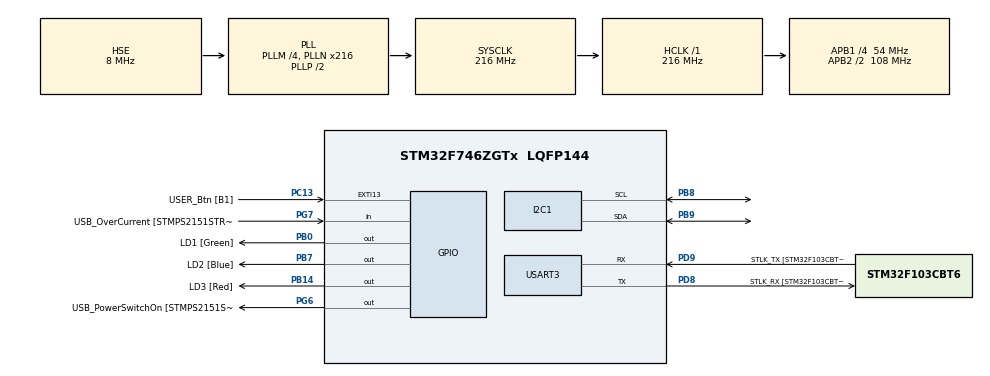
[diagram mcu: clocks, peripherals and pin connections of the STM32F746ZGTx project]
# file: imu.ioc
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I2C1.Timing=0x20404768
Mcu.Family=STM32F7
Mcu.Name=STM32F746ZGTx
Mcu.Package=LQFP144
NVIC.PriorityGroup=NVIC_PRIORITYGROUP_4
PA1.GPIO_Label=RMII_REF_CLK [LAN8742A-CZ-TR_REFCLK0]
PA1.Signal=ETH_REF_CLK
PA10.GPIO_Label=USB_ID
PA10.Signal=USB_OTG_FS_ID
PA11.GPIO_Label=USB_DM
PA11.Signal=USB_OTG_FS_DM
PA12.GPIO_Label=USB_DP
PA12.Signal=USB_OTG_FS_DP
PA13.GPIO_Label=TMS
PA13.Mode=Serial_Wire
PA13.Signal=SYS_JTMS-SWDIO
PA14.GPIO_Label=TCK
PA14.Mode=Serial_Wire
PA14.Signal=SYS_JTCK-SWCLK
PA2.GPIO_Label=RMII_MDIO [LAN8742A-CZ-TR_MDIO]
PA2.Signal=ETH_MDIO
PA7.GPIO_Label=RMII_CRS_DV [LAN8742A-CZ-TR_CRS_DV]
PA7.Signal=ETH_CRS_DV
PA8.GPIO_Label=USB_SOF [TP1]
PA8.Signal=USB_OTG_FS_SOF
PA9.GPIO_Label=USB_VBUS
PA9.Signal=USB_OTG_FS_VBUS
PB0.GPIO_Label=LD1 [Green]
PB0.Signal=GPIO_Output
PB13.GPIO_Label=RMII_TXD1 [LAN8742A-CZ-TR_TXD1]
PB13.Signal=ETH_TXD1
PB14.GPIO_Label=LD3 [Red]
PB14.Signal=GPIO_Output
PB3.GPIO_Label=SW0
PB3.Signal=SYS_JTDO-SWO
PB7.GPIO_Label=LD2 [Blue]
PB7.Signal=GPIO_Output
PB8.Mode=I2C
PB8.Signal=I2C1_SCL
PB9.Mode=I2C
PB9.Signal=I2C1_SDA
PC1.GPIO_Label=RMII_MDC [LAN8742A-CZ-TR_MDC]
PC1.Signal=ETH_MDC
PC13.GPIO_Label=USER_Btn [B1]
PC13.Signal=GPXTI13
PC14/OSC32_IN.Mode=LSE-External-Oscillator
PC14/OSC32_IN.Signal=RCC_OSC32_IN
PC15/OSC32_OUT.Mode=LSE-External-Oscillator
PC15/OSC32_OUT.Signal=RCC_OSC32_OUT
PC4.GPIO_Label=RMII_RXD0 [LAN8742A-CZ-TR_RXD0]
PC4.Signal=ETH_RXD0
PC5.GPIO_Label=RMII_RXD1 [LAN8742A-CZ-TR_RXD1]
PC5.Signal=ETH_RXD1
PD8.GPIO_Label=STLK_RX [STM32F103CBT6_PA3]
PD8.Mode=Asynchronous
PD8.Signal=USART3_TX
PD9.GPIO_Label=STLK_TX [STM32F103CBT6_PA2]
PD9.Mode=Asynchronous
PD9.Signal=USART3_RX
PG11.GPIO_Label=RMII_TX_EN [LAN8742A-CZ-TR_TXEN]
PG11.Signal=ETH_TX_EN
PG13.GPIO_Label=RMII_TXD0 [LAN8742A-CZ-TR_TXD0]
PG13.Signal=ETH_TXD0
PG6.GPIO_Label=USB_PowerSwitchOn [STMPS2151STR_EN]
PG6.Signal=GPIO_Output
PG7.GPIO_Label=USB_OverCurrent [STMPS2151STR_FAULT]
PG7.Signal=GPIO_Input
PH0/OSC_IN.GPIO_Label=MCO [STM32F103CBT6_PA8]
PH0/OSC_IN.Mode=HSE-External-Clock-Source
PH0/OSC_IN.Signal=RCC_OSC_IN
PH1/OSC_OUT.Mode=HSE-External-Clock-Source
PH1/OSC_OUT.Signal=RCC_OSC_OUT
ProjectManager.HeapSize=0x200
ProjectManager.StackSize=0x400
ProjectManager.TargetToolchain=SW4STM32
RCC.48MHZClocksFreq_Value=24000000
RCC.AHBFreq_Value=216000000
RCC.APB1CLKDivider=RCC_HCLK_DIV4
RCC.APB1Freq_Value=54000000
RCC.APB1TimFreq_Value=108000000
RCC.APB2CLKDivider=RCC_HCLK_DIV2
RCC.APB2Freq_Value=108000000
RCC.APB2TimFreq_Value=216000000
RCC.CortexFreq_Value=216000000
RCC.HCLKFreq_Value=216000000
RCC.HSE_VALUE=8000000
RCC.HSI_VALUE=16000000
RCC.PLLM=4
RCC.PLLMUL=RCC_PLL_MUL9
RCC.PLLN=216
RCC.PLLQ=3
RCC.PLLSourceVirtual=RCC_PLLSOURCE_HSE
RCC.PRESCALERUSB=RCC_USBCLKSOURCE_PLL_DIV1_5
RCC.SYSCLKFreq_VALUE=216000000
RCC.SYSCLKSource=RCC_SYSCLKSOURCE_PLLCLK
RCC.SYSCLKSourceVirtual=RCC_SYSCLKSOURCE_PLLCLK
RCC.USBFreq_Value=144000000
RCC.VCOOutputFreq_Value=432000000
USART3.VirtualMode-Asynchronous=VM_ASYNC
board=NUCLEO-F746ZG

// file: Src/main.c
/**
 ******************************************************************************
 * @file           : main.c
 * @brief          : Main program body
 ******************************************************************************
 ** This notice applies to any and all portions of this file
 * that are not between comment pairs USER CODE BEGIN and
 * USER CODE END. Other portions of this file, whether
 * inserted by the user or by software development tools
 * are owned by their respective copyright owners.
 *
 * COPYRIGHT(c) 2018 STMicroelectronics
 *
 * Redistribution and use in source and binary forms, with or without modification,
 * are permitted provided that the following conditions are met:
 *   1. Redistributions of source code must retain the above copyright notice,
 *      this list of conditions and the following disclaimer.
 *   2. Redistributions in binary form must reproduce the above copyright notice,
 *      this list of conditions and the following disclaimer in the documentation
 *      and/or other materials provided with the distribution.
 *   3. Neither the name of STMicroelectronics nor the names of its contributors
 *      may be used to endorse or promote products derived from this software
 *      without specific prior written permission.
 *
 * THIS SOFTWARE IS PROVIDED BY THE COPYRIGHT HOLDERS AND CONTRIBUTORS "AS IS"
 * AND ANY EXPRESS OR IMPLIED WARRANTIES, INCLUDING, BUT NOT LIMITED TO, THE
 * IMPLIED WARRANTIES OF MERCHANTABILITY AND FITNESS FOR A PARTICULAR PURPOSE ARE
 * DISCLAIMED. IN NO EVENT SHALL THE COPYRIGHT HOLDER OR CONTRIBUTORS BE LIABLE
 * FOR ANY DIRECT, INDIRECT, INCIDENTAL, SPECIAL, EXEMPLARY, OR CONSEQUENTIAL
 * DAMAGES (INCLUDING, BUT NOT LIMITED TO, PROCUREMENT OF SUBSTITUTE GOODS OR
 * SERVICES; LOSS OF USE, DATA, OR PROFITS; OR BUSINESS INTERRUPTION) HOWEVER
 * CAUSED AND ON ANY THEORY OF LIABILITY, WHETHER IN CONTRACT, STRICT LIABILITY,
 * OR TORT (INCLUDING NEGLIGENCE OR OTHERWISE) ARISING IN ANY WAY OUT OF THE USE
 * OF THIS SOFTWARE, EVEN IF ADVISED OF THE POSSIBILITY OF SUCH DAMAGE.
 *
 ******************************************************************************
 */
#include "main.h"
#include "stm32f7xx_hal.h"
#include "i2c.h"
#include "usart.h"
#include "gpio.h"

/* USER CODE BEGIN Includes */
#include "imu.h"
/* USER CODE END Includes */

/* USER CODE BEGIN PV */
/* Private variables ---------------------------------------------------------*/

/* USER CODE END PV */

void SystemClock_Config(void);

/* USER CODE BEGIN PFP */
/* Private function prototypes -----------------------------------------------*/

/* USER CODE END PFP */

/* USER CODE BEGIN 0 */
extern void initialise_monitor_handles(void);
/* USER CODE END 0 */

int main(void)
{
	/* USER CODE BEGIN 1 */
	initialise_monitor_handles();

	/* USER CODE END 1 */

	/* MCU Configuration----------------------------------------------------------*/

	/* Reset of all peripherals, Initializes the Flash interface and the Systick. */
	HAL_Init();

	/* Configure the system clock */
	SystemClock_Config();

	/* Initialize all configured peripherals */
	MX_GPIO_Init();
	MX_USART3_UART_Init();
	MX_I2C1_Init();
	/* USER CODE BEGIN 2 */
	int err=-1;
	float ax,ay,az,gx,gy,gz;

	printf("START...\n\r");

	while (err!=0)   {
		err=imu_init();
		if (err==0)
			printf("Inizializzazione IMU ok...\n\r");
		else
			err = imu_init();
	}

	/*uint32_t tick=HAL_GetTick();
  printf("Il numero di tick e': %d \n\r",tick);*/
	uint32_t tick=0,last=0;
	/*while(1)*/for(int i=0;i<3;i++)   {
		imu_read();
		// printf("imuread err: %d \n\r",err);
		ax=imu.acc.x*1000;
		ay=imu.acc.y*1000;
		az=imu.acc.z*1000;
		gx=imu.gyr.x*1000;
		gy=imu.gyr.y*1000;
		gz=imu.gyr.z*1000;

		printf("L'accelerazione lungo x e': %f\n\r",ax);
		printf("L'accelerazione lungo y e': %f\n\r",ay);
		printf("L'accelerazione lungo z e': %f\n\r",az);

		printf("Il rollio     (roll)  e': %f \n\r",gx);
		printf("Il beccheggio (pitch) e': %f \n\r",gy);
		printf("L' imbardata  (yaw)   e': %f \n\r",gz);

		do   {
			tick=HAL_GetTick();
		}
		while(tick-last<1);
		last=tick;

		printf("%d   %d\n\r",tick,last);

		//  HAL_Delay(1);

	}
	/* USER CODE END 2 */

	/* Infinite loop */
	while (1)
	{

	}

}

void SystemClock_Config(void)
{

	RCC_OscInitTypeDef RCC_OscInitStruct;
	RCC_ClkInitTypeDef RCC_ClkInitStruct;
	RCC_PeriphCLKInitTypeDef PeriphClkInitStruct;

	/**Configure the main internal regulator output voltage
	 */
	__HAL_RCC_PWR_CLK_ENABLE();

	__HAL_PWR_VOLTAGESCALING_CONFIG(PWR_REGULATOR_VOLTAGE_SCALE1);

	/**Initializes the CPU, AHB and APB busses clocks
	 */
	RCC_OscInitStruct.OscillatorType = RCC_OSCILLATORTYPE_HSE;
	RCC_OscInitStruct.HSEState = RCC_HSE_BYPASS;
	RCC_OscInitStruct.PLL.PLLState = RCC_PLL_ON;
	RCC_OscInitStruct.PLL.PLLSource = RCC_PLLSOURCE_HSE;
	RCC_OscInitStruct.PLL.PLLM = 4;
	RCC_OscInitStruct.PLL.PLLN = 216;
	RCC_OscInitStruct.PLL.PLLP = RCC_PLLP_DIV2;
	RCC_OscInitStruct.PLL.PLLQ = 3;
	if (HAL_RCC_OscConfig(&RCC_OscInitStruct) != HAL_OK)
	{
		_Error_Handler(__FILE__, __LINE__);
	}

	/**Activate the Over-Drive mode
	 */
	if (HAL_PWREx_EnableOverDrive() != HAL_OK)
	{
		_Error_Handler(__FILE__, __LINE__);
	}

	/**Initializes the CPU, AHB and APB busses clocks
	 */
	RCC_ClkInitStruct.ClockType = RCC_CLOCKTYPE_HCLK|RCC_CLOCKTYPE_SYSCLK
			|RCC_CLOCKTYPE_PCLK1|RCC_CLOCKTYPE_PCLK2;
	RCC_ClkInitStruct.SYSCLKSource = RCC_SYSCLKSOURCE_PLLCLK;
	RCC_ClkInitStruct.AHBCLKDivider = RCC_SYSCLK_DIV1;
	RCC_ClkInitStruct.APB1CLKDivider = RCC_HCLK_DIV4;
	RCC_ClkInitStruct.APB2CLKDivider = RCC_HCLK_DIV2;

	if (HAL_RCC_ClockConfig(&RCC_ClkInitStruct, FLASH_LATENCY_7) != HAL_OK)
	{
		_Error_Handler(__FILE__, __LINE__);
	}

	PeriphClkInitStruct.PeriphClockSelection = RCC_PERIPHCLK_USART3|RCC_PERIPHCLK_I2C1;
	PeriphClkInitStruct.Usart3ClockSelection = RCC_USART3CLKSOURCE_PCLK1;
	PeriphClkInitStruct.I2c1ClockSelection = RCC_I2C1CLKSOURCE_PCLK1;
	if (HAL_RCCEx_PeriphCLKConfig(&PeriphClkInitStruct) != HAL_OK)
	{
		_Error_Handler(__FILE__, __LINE__);
	}

	/**Configure the Systick interrupt time
	 */
	HAL_SYSTICK_Config(HAL_RCC_GetHCLKFreq()/1000);

	/**Configure the Systick
	 */
	HAL_SYSTICK_CLKSourceConfig(SYSTICK_CLKSOURCE_HCLK);

	/* SysTick_IRQn interrupt configuration */
	HAL_NVIC_SetPriority(SysTick_IRQn, 0, 0);
}

void _Error_Handler(char *file, int line)
{
	while(1)
	{
	}
}

/************************ (C) COPYRIGHT STMicroelectronics *****END OF FILE****/
